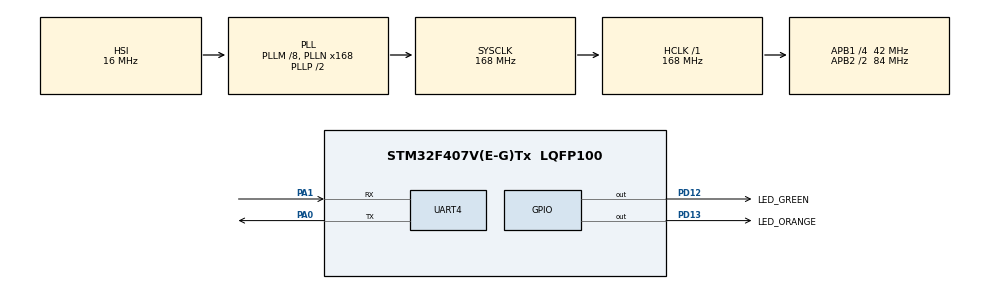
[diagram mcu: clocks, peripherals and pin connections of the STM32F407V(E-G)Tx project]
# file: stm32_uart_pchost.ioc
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FREERTOS.Tasks01=defaultTask,24,128,StartDefaultTask,Default,NULL,Dynamic,NULL,NULL
Mcu.Family=STM32F4
Mcu.Name=STM32F407V(E-G)Tx
Mcu.Package=LQFP100
NVIC.PriorityGroup=NVIC_PRIORITYGROUP_4
NVIC.TIM1_UP_TIM10_IRQn=true\:15\:0\:false\:false\:true\:false\:false\:true\:true
NVIC.TimeBase=TIM1_UP_TIM10_IRQn
NVIC.TimeBaseIP=TIM1
NVIC.UART4_IRQn=true\:5\:0\:false\:false\:true\:true\:true\:true\:true
PA0-WKUP.Mode=Asynchronous
PA0-WKUP.Signal=UART4_TX
PA1.Mode=Asynchronous
PA1.Signal=UART4_RX
PD12.GPIO_Label=LED_GREEN
PD12.Signal=GPIO_Output
PD13.GPIO_Label=LED_ORANGE
PD13.Signal=GPIO_Output
ProjectManager.HeapSize=0x200
ProjectManager.StackSize=0x400
ProjectManager.TargetToolchain=CMake
RCC.48MHZClocksFreq_Value=48000000
RCC.AHBFreq_Value=168000000
RCC.APB1CLKDivider=RCC_HCLK_DIV4
RCC.APB1Freq_Value=42000000
RCC.APB1TimFreq_Value=84000000
RCC.APB2CLKDivider=RCC_HCLK_DIV2
RCC.APB2Freq_Value=84000000
RCC.APB2TimFreq_Value=168000000
RCC.CortexFreq_Value=168000000
RCC.HCLKFreq_Value=168000000
RCC.HSE_VALUE=8000000
RCC.HSI_VALUE=16000000
RCC.LSE_VALUE=32768
RCC.PLLM=8
RCC.PLLN=168
RCC.PLLQ=7
RCC.SYSCLKFreq_VALUE=168000000
RCC.SYSCLKSource=RCC_SYSCLKSOURCE_PLLCLK
RCC.VCOOutputFreq_Value=336000000
UART4.VirtualMode=Asynchronous
VP_FREERTOS_VS_CMSIS_V2.Mode=CMSIS_V2
VP_SYS_VS_tim1.Mode=TIM1
board=STM32F407G-DISC1

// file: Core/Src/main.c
/* USER CODE BEGIN Header */
/**
  ******************************************************************************
  * @file           : main.c
  * @brief          : Main program body
  ******************************************************************************
  * @attention
  *
  * Copyright (c) 2025 STMicroelectronics.
  * All rights reserved.
  *
  * This software is licensed under terms that can be found in the LICENSE file
  * in the root directory of this software component.
  * If no LICENSE file comes with this software, it is provided AS-IS.
  *
  ******************************************************************************
  */
/* USER CODE END Header */
#include "main.h"
#include "cmsis_os.h"
#include "usart.h"
#include "gpio.h"
#include "stdio.h"
// Defines
#define MAX_LEN  64

// Variables
char command[MAX_LEN] = {0};
uint8_t received_data;
uint8_t rxIndex = 0;

// Queue Handles
QueueHandle_t xCommandQueue;

//Function Prototypes
int __io_putchar(int ch);
void HAL_UART_RxCpltCallback(UART_HandleTypeDef *huart);
void LowPriorityTask(void *parameters);
void HighPriorityTask(void *parameters);

// Clock Initialization
void SystemClock_Config(void);

// MAIN FUNCTION
int main(void)
{

  HAL_Init();

  SystemClock_Config();

  MX_GPIO_Init();
  MX_UART4_Init();

  xCommandQueue = xQueueCreate(5, MAX_LEN);
  if (xCommandQueue == NULL)
  {
    for(;;); // infinite loop
  }

  printf("System Initialized...\r\n");
  printf("UART CLI Ready...\r\n");
  printf(">> "); // for CLI experience

  HAL_UART_Receive_IT(&huart4, &received_data, 1);

  xTaskCreate(LowPriorityTask, "low prio", 128, NULL, 1, NULL);
  xTaskCreate(HighPriorityTask, "high prio", 128, NULL, 5, NULL);
  vTaskStartScheduler();

  while (1)
  {

  }
}

void SystemClock_Config(void)
{
  RCC_OscInitTypeDef RCC_OscInitStruct = {0};
  RCC_ClkInitTypeDef RCC_ClkInitStruct = {0};

  /** Configure the main internal regulator output voltage
  */
  __HAL_RCC_PWR_CLK_ENABLE();
  __HAL_PWR_VOLTAGESCALING_CONFIG(PWR_REGULATOR_VOLTAGE_SCALE1);

  /** Initializes the RCC Oscillators according to the specified parameters
  * in the RCC_OscInitTypeDef structure.
  */
  RCC_OscInitStruct.OscillatorType = RCC_OSCILLATORTYPE_HSI;
  RCC_OscInitStruct.HSIState = RCC_HSI_ON;
  RCC_OscInitStruct.HSICalibrationValue = RCC_HSICALIBRATION_DEFAULT;
  RCC_OscInitStruct.PLL.PLLState = RCC_PLL_ON;
  RCC_OscInitStruct.PLL.PLLSource = RCC_PLLSOURCE_HSI;
  RCC_OscInitStruct.PLL.PLLM = 8;
  RCC_OscInitStruct.PLL.PLLN = 168;
  RCC_OscInitStruct.PLL.PLLP = RCC_PLLP_DIV2;
  RCC_OscInitStruct.PLL.PLLQ = 7;
  if (HAL_RCC_OscConfig(&RCC_OscInitStruct) != HAL_OK)
  {
    Error_Handler();
  }

  /** Initializes the CPU, AHB and APB buses clocks
  */
  RCC_ClkInitStruct.ClockType = RCC_CLOCKTYPE_HCLK|RCC_CLOCKTYPE_SYSCLK
                              |RCC_CLOCKTYPE_PCLK1|RCC_CLOCKTYPE_PCLK2;
  RCC_ClkInitStruct.SYSCLKSource = RCC_SYSCLKSOURCE_PLLCLK;
  RCC_ClkInitStruct.AHBCLKDivider = RCC_SYSCLK_DIV1;
  RCC_ClkInitStruct.APB1CLKDivider = RCC_HCLK_DIV4;
  RCC_ClkInitStruct.APB2CLKDivider = RCC_HCLK_DIV2;

  if (HAL_RCC_ClockConfig(&RCC_ClkInitStruct, FLASH_LATENCY_5) != HAL_OK)
  {
    Error_Handler();
  }
}

/* USER CODE BEGIN 4 */

/*
 ----------------  TASKS -------------------
 */
void LowPriorityTask(void *parameters)
{
  while (1)
  {
    while (1)
    {
      vTaskDelay(pdMS_TO_TICKS(1000));
    }

  }

}

void HighPriorityTask(void *parameters)
{
  char data[MAX_LEN];
  while (1)
  {
    if (xQueueReceive(xCommandQueue, data, portMAX_DELAY) == pdPASS)
    {
      if (strcmp(data, "COMMANDS") == 0)
      {
        printf("=====COMMANDS=====\r\n");
        printf("1. LED ON  - Turn on Orange LED\r\n");
        printf("2. LED OFF - Turn off Orange LED\r\n");
      }
      else if (strcmp(data, "LED ON") == 0)
      {
        HAL_GPIO_WritePin(LED_ORANGE_GPIO_Port, LED_ORANGE_Pin, GPIO_PIN_SET);
        HAL_GPIO_WritePin(LED_GREEN_GPIO_Port, LED_GREEN_Pin, GPIO_PIN_SET);
        printf("Debug: Orange LED Turned ON\r\n");
      }
      else if(strcmp(data, "LED OFF") == 0)
      {
        HAL_GPIO_WritePin(GPIOD, GPIO_PIN_13, GPIO_PIN_RESET);
        HAL_GPIO_WritePin(LED_GREEN_GPIO_Port, LED_GREEN_Pin, GPIO_PIN_RESET);
        printf("Debug: Orange LED Turned OFF\r\n");
      }
      else
      {
        printf("Error: Command Not Found\r\n");
      }

      printf(">> "); // for the shell like feel :)
    }

  }

}

/*
 ----------------  Callback Functions -------------------
 */

 void HAL_UART_RxCpltCallback(UART_HandleTypeDef *huart)
{

  portBASE_TYPE xHigherPriorityTaskWoken = pdFALSE;

  if (huart->Instance == UART4)
  {
    if (received_data == '\r')
    {
      command[rxIndex] = '\0';
      rxIndex = 0;
      xQueueSendFromISR(xCommandQueue, command, &xHigherPriorityTaskWoken);
      HAL_UART_Transmit(&huart4, (uint8_t*)"\r\n", 2, portMAX_DELAY);
    }
    else
    {
      HAL_UART_Transmit(&huart4, &received_data, 1, HAL_MAX_DELAY);
      command[rxIndex++] = received_data;
    }

    HAL_UART_Receive_IT(&huart4, &received_data, 1);

    portYIELD_FROM_ISR(xHigherPriorityTaskWoken);
  }
}

// Printf Routed to UART4
int usart_send(int ch)
{
	while(!(UART4->SR & 0x80));
	UART4->DR = (ch & 0xFF);
	return ch;
}

int __io_putchar(int ch)
{
	usart_send(ch);
	return ch;
}
/* USER CODE END 4 */

void HAL_TIM_PeriodElapsedCallback(TIM_HandleTypeDef *htim)
{
  if (htim->Instance == TIM1) {
    HAL_IncTick();
  }
}

void Error_Handler(void)
{
  __disable_irq();
  while (1)
  {
  }
}
